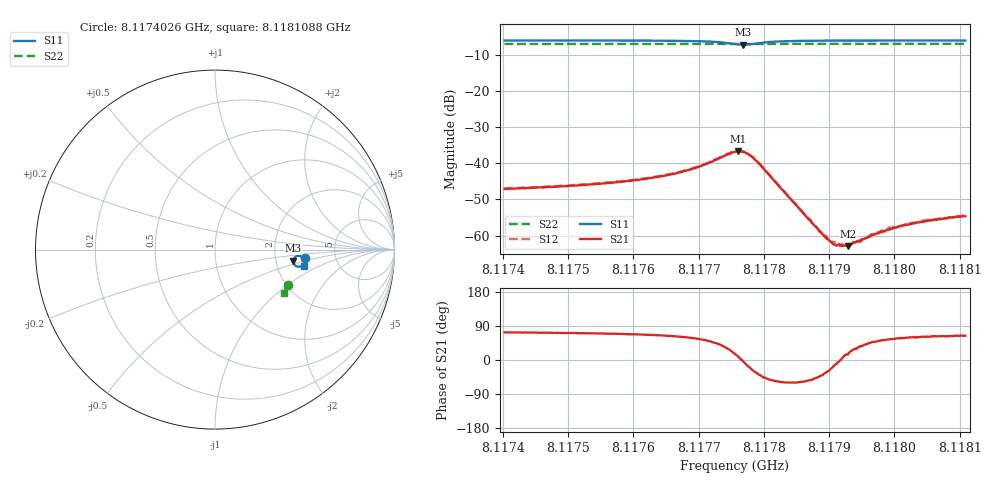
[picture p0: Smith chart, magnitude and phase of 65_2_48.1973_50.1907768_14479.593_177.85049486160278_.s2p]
#  HZ  S  RI  R  50.00
! Rohde & Schwarz Vector Network Analyzer
! Rohde-Schwarz,ZNB20-2Port,1311601062101988,3.16
! Created: UTC 3/20/2024, 11:38:56 AM
! freq[Hz]  re:S11  im:S11  re:S21  im:S21  re:S12  im:S12  re:S22  im:S22
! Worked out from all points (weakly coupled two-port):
!   401 points, 8.1174026 GHz to 8.1181088 GHz, reference 50 ohm
!   highest |S21| = -36.61 dB at 8.117761 GHz (marker M1); lowest = -62.9 dB at 8.1179288 GHz (marker M2)
!   lowest |S11| = -7.1 dB at 8.1177681 GHz (marker M3), VSWR 2.57, Z = 125 - j19.2 ohm
!   |S11| at or under -10 dB: nowhere
!   |S22| runs from -6.9 to -6.9 dB; largest |S21 - S12| = 0.00054
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8.11740264e9  0.503 -0.0493  0.0013 0.00422  0.00136 0.00429  0.4073 -0.1957
8.11752093e9  0.501 -0.0607  0.00165 0.00472  0.00175 0.00478  0.4037 -0.2034
8.11758272e9  0.499 -0.0677  0.00201 0.0052  0.0021 0.00528  0.4021 -0.2073
8.11763922e9  0.4959 -0.076  0.00275 0.00595  0.00286 0.00601  0.4001 -0.2111
8.11769218e9  0.4879 -0.0867  0.00452 0.00715  0.00474 0.00726  0.3983 -0.2147
8.11775574e9  0.4419 -0.0832  0.014 0.0039  0.0141 0.00377  0.3942 -0.2177
8.11776104e9  0.4376 -0.0751  0.0146 0.00213  0.0148 0.00193  0.3941 -0.2176
8.1177681e9  0.4358 -0.0619  0.0144 -0.000855  0.0146 -0.000962  0.394 -0.2175
8.11778046e9  0.4463 -0.0418  0.0116 -0.00499  0.0116 -0.00518  0.3943 -0.2175
8.11779282e9  0.4632 -0.0345  0.0076 -0.0063  0.0078 -0.00642  0.3947 -0.2181
8.11782283e9  0.4876 -0.0427  0.00263 -0.00411  0.00267 -0.00417  0.3948 -0.2206
8.11787403e9  0.4972 -0.0589  0.000919 -0.00116  0.000926 -0.0012  0.3934 -0.2245
8.11790052e9  0.4981 -0.0645  0.000754 -0.000384  0.000752 -0.000373  0.3926 -0.2262
8.11790758e9  0.4983 -0.0657  0.000726 -0.000193  0.000718 -0.000235  0.3923 -0.2267
8.11791994e9  0.4984 -0.0678  0.000717 6.59e-05  0.000768 2.61e-05  0.392 -0.2276
8.11792876e9  0.4985 -0.0692  0.000693 0.000176  0.000705 0.00017  0.3917 -0.228
8.11794465e9  0.4986 -0.0713  0.000685 0.000456  0.000703 0.000476  0.3912 -0.229
8.1179676e9  0.4986 -0.0745  0.000682 0.000763  0.000722 0.000734  0.3904 -0.2305
8.11799232e9  0.4985 -0.0774  0.0007 0.000983  0.000767 0.00105  0.3896 -0.2321
8.11801527e9  0.4981 -0.08  0.000756 0.00118  0.000749 0.00116  0.3888 -0.2335
8.11805058e9  0.4977 -0.0835  0.000747 0.0014  0.000807 0.00143  0.3876 -0.2358
8.11810885e9  0.497 -0.0892  0.000807 0.00166  0.00085 0.0017  0.3855 -0.2395
